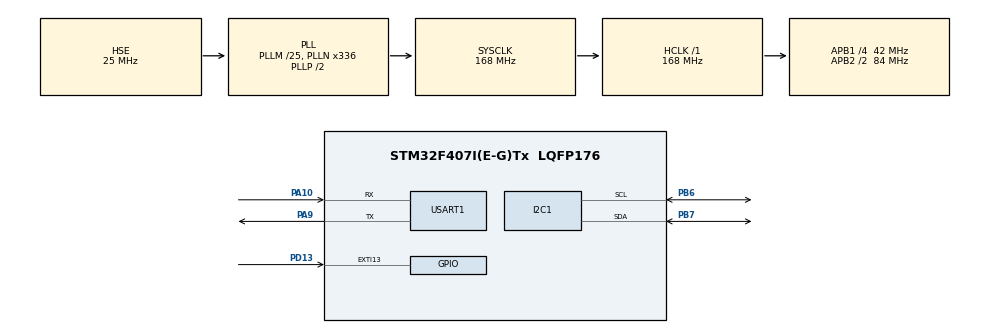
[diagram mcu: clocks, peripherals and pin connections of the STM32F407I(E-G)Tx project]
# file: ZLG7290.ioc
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I2C1.DualAddressMode=I2C_DUALADDRESS_DISABLED
I2C1.GeneralCallMode=I2C_GENERALCALL_ENABLED
Mcu.Family=STM32F4
Mcu.Name=STM32F407I(E-G)Tx
Mcu.Package=LQFP176
NVIC.EXTI15_10_IRQn=true\:0\:0\:false
NVIC.PriorityGroup=NVIC_PRIORITYGROUP_4
NVIC.USART1_IRQn=true\:0\:0\:false
PA10.Mode=Asynchronous
PA10.Signal=USART1_RX
PA9.Mode=Asynchronous
PA9.Signal=USART1_TX
PB6.Mode=I2C
PB6.Signal=I2C1_SCL
PB7.Mode=I2C
PB7.Signal=I2C1_SDA
PD13.GPIO_ModeDefaultEXTI=GPIO_MODE_IT_FALLING
PD13.GPIO_PuPd=GPIO_NOPULL
PD13.Signal=GPXTI13
PH0-OSC_IN.Mode=HSE-External-Oscillator
PH0-OSC_IN.Signal=RCC_OSC_IN
PH1-OSC_OUT.Mode=HSE-External-Oscillator
PH1-OSC_OUT.Signal=RCC_OSC_OUT
ProjectManager.TargetToolchain=MDK-ARM V5
RCC.48MHZClocksFreq_Value=84000000
RCC.AHBFreq_Value=168000000
RCC.APB1CLKDivider=RCC_HCLK_DIV4
RCC.APB1Freq_Value=42000000
RCC.APB1TimFreq_Value=84000000
RCC.APB2CLKDivider=RCC_HCLK_DIV2
RCC.APB2Freq_Value=84000000
RCC.APB2TimFreq_Value=168000000
RCC.CortexFreq_Value=168000000
RCC.HCLKFreq_Value=168000000
RCC.HSE_VALUE=25000000
RCC.HSI_VALUE=16000000
RCC.LSE_VALUE=32768
RCC.PLLM=25
RCC.PLLN=336
RCC.PLLSourceVirtual=RCC_PLLSOURCE_HSE
RCC.SYSCLKFreq_VALUE=168000000
RCC.SYSCLKSource=RCC_SYSCLKSOURCE_PLLCLK
RCC.VCOOutputFreq_Value=336000000
board=ZLG7290

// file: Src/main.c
/**
  ******************************************************************************
  * File Name          : main.c
  * Description        : Main program body
  ******************************************************************************
  *
  * COPYRIGHT(c) 2015 STMicroelectronics
  *
  * Redistribution and use in source and binary forms, with or without modification,
  * are permitted provided that the following conditions are met:
  *   1. Redistributions of source code must retain the above copyright notice,
  *      this list of conditions and the following disclaimer.
  *   2. Redistributions in binary form must reproduce the above copyright notice,
  *      this list of conditions and the following disclaimer in the documentation
  *      and/or other materials provided with the distribution.
  *   3. Neither the name of STMicroelectronics nor the names of its contributors
  *      may be used to endorse or promote products derived from this software
  *      without specific prior written permission.
  *
  * THIS SOFTWARE IS PROVIDED BY THE COPYRIGHT HOLDERS AND CONTRIBUTORS "AS IS"
  * AND ANY EXPRESS OR IMPLIED WARRANTIES, INCLUDING, BUT NOT LIMITED TO, THE
  * IMPLIED WARRANTIES OF MERCHANTABILITY AND FITNESS FOR A PARTICULAR PURPOSE ARE
  * DISCLAIMED. IN NO EVENT SHALL THE COPYRIGHT HOLDER OR CONTRIBUTORS BE LIABLE
  * FOR ANY DIRECT, INDIRECT, INCIDENTAL, SPECIAL, EXEMPLARY, OR CONSEQUENTIAL
  * DAMAGES (INCLUDING, BUT NOT LIMITED TO, PROCUREMENT OF SUBSTITUTE GOODS OR
  * SERVICES; LOSS OF USE, DATA, OR PROFITS; OR BUSINESS INTERRUPTION) HOWEVER
  * CAUSED AND ON ANY THEORY OF LIABILITY, WHETHER IN CONTRACT, STRICT LIABILITY,
  * OR TORT (INCLUDING NEGLIGENCE OR OTHERWISE) ARISING IN ANY WAY OUT OF THE USE
  * OF THIS SOFTWARE, EVEN IF ADVISED OF THE POSSIBILITY OF SUCH DAMAGE.
  *
  ******************************************************************************
  */
#include "stm32f4xx_hal.h"
#include "i2c.h"
#include "usart.h"
#include "gpio.h"

/* USER CODE BEGIN Includes */
#include "zlg7290.h"
#include "stdio.h"
/* USER CODE END Includes */

/* USER CODE BEGIN PV */
/* Private variables ---------------------------------------------------------*/
#define ZLG_READ_ADDRESS1         0x01
#define ZLG_READ_ADDRESS2         0x10
#define ZLG_WRITE_ADDRESS1        0x10
#define ZLG_WRITE_ADDRESS2        0x11
#define BUFFER_SIZE1              (countof(Tx1_Buffer))
#define BUFFER_SIZE2              (countof(Rx2_Buffer))
#define countof(a) (sizeof(a) / sizeof(*(a)))

struct flag_arg {
	uint8_t flag;										//不同的按键有不同的标志位值
	uint8_t cksm;										//flag校验码=flag+1
} arg;
uint8_t flag1 = 0;								//中断标志位，每次按键产生一次中断，并开始读取8个数码管的值
uint8_t Rx2_Buffer[8]={0};
uint8_t Tx1_Buffer[8]={0};
uint8_t Rx1_Buffer[1]={0};
/* USER CODE END PV */
uint8_t pwd_hash[5] = {4,1,3,2,9};//内置密码的哈希值，不存储明文密码，防止密码泄露
uint8_t pwd_tmp[20];							//输入密码缓冲区，仅前5字节有实际作用，多余字节防止溢出
int indx = 0;											//输入密码缓冲区指针

uint8_t called_que[12]={0};				//函数调用序列
uint8_t call_indx = 0;						//函数调用序列指针
//将函数id入队
#define enterque(id)\
{\
	if (call_indx >= 12) {\
		call_indx = 0;\
	}\
	called_que[call_indx++]=id;\
}
//函数id
#define ID_switch_key 				1
#define ID_verify_pwd_choose 	2
#define ID_verify_pwd 				3
#define ID_switch_flag 				4
//调用序列标志：0-调用序列出错;1-调用序列正确
uint8_t called_flag = 1;

/* verify pwd*/
void verify_pwd_choose(uint8_t choice);
void verify_pwd1(void);
void verify_pwd2(void);
void SystemClock_Config(void);

/* USER CODE BEGIN PFP */
/* Private function prototypes -----------------------------------------------*/
void swtich_key(void);
void switch_flag(void);
/* USER CODE END PFP */

int main(void)
{

  /* MCU Configuration----------------------------------------------------------*/

  /* Reset of all peripherals, Initializes the Flash interface and the Systick. */
  HAL_Init();

  /* Configure the system clock */
  SystemClock_Config();

  /* Initialize all configured peripherals */
  MX_GPIO_Init();
  MX_I2C1_Init();
  MX_USART1_UART_Init();

  /* USER CODE BEGIN 2 */
	printf("\n\r");
	printf("\n\r-------------------------------------------------\r\n");
	printf("\n\r 口令匹配程序 \r\n");
  /* USER CODE END 2 */

  /* Infinite loop */
  /* USER CODE BEGIN WHILE */
	uint8_t verifyChoice = 0;				//用于选择使用哪一个verify_pwd函数

  while (1)
  {
  /* USER CODE END WHILE */

  /* USER CODE BEGIN 3 */
		if(flag1 == 1)
		{
			flag1 = 0;
			I2C_ZLG7290_Read(&hi2c1,0x71,0x01,Rx1_Buffer,1);//读键值
			printf("\n\r按键键值 = %#x\r\n",Rx1_Buffer[0]);	//向串口发送键值
			HAL_GPIO_WritePin(GPIOG,GPIO_PIN_6,GPIO_PIN_SET);//打开蜂鸣器
			HAL_Delay(2);//50HZ频率
			HAL_GPIO_WritePin(GPIOG,GPIO_PIN_6,GPIO_PIN_RESET);//关闭蜂鸣器
			HAL_Delay(2);//50HZ频率
			swtich_key();																		//扫描键值，写标志位
			verify_pwd_choose(verifyChoice);								//口令匹配
/*			if (!called_flag) {		//如果关键函数verify调用序列出错
				call_indx = 0;			//清空调用队列
				called_flag = 1;		//重置called_flag
				continue;
			}*/
			I2C_ZLG7290_Read(&hi2c1,0x71,0x10,Rx2_Buffer,8);//读8位数码管
			switch_flag();																	//扫描到相应的按键并且向数码管写进数值
		}
		verifyChoice = 1-verifyChoice;		//每次将verifyChoice置反，以选择不同的verify_pwd
  }
  /* USER CODE END 3 */

}
/*
口令匹配：
用户每次输入只有前5个按键值会被转换为相应数字，并放入输入密码缓冲区pwd_tmp。
当用户按下#键时才会进行口令匹配。
为了防止密码泄露，内存中存储的是密码的哈希值。
程序将用户密码进行哈希后，再与内置密码的哈希值进行比较。
*/
//void verify_pwd1(void);
//void verify_pwd2(void);

void verify_pwd_choose(uint8_t choice)
{
	//检查前序调用队列
	if (called_que[call_indx-1]!=ID_switch_key) {
		//called_flag = 0;
		//return;
		arg.flag = 14;
	}
	//将本函数id入队
	enterque(ID_verify_pwd_choose);

	//选择调用哪一个verify_pwd函数
	if (!choice) {
		verify_pwd1();
	}
	else {
		verify_pwd2();
	}
	return;
}

/* 两个程序冗余项，程序功能相同 */
void verify_pwd1(void) {
	//检查前序调用队列
	if (called_que[call_indx-1]!=ID_verify_pwd_choose \
		|| called_que[call_indx-2]!=ID_switch_key) {
		//called_flag = 0;
		//return;
			Rx1_Buffer[0] = 0x2;
	}
	//将函数id入栈
	enterque(ID_verify_pwd);

	//验证flag
	if (arg.flag + 1 != arg.cksm) {
		return;
	}

	int i;
	if (Rx1_Buffer[0] == 0x2) {								//用户按下#键，进行密码匹配
		 indx = 0; 															//清空输入密码缓冲区，为下一次用户输入密码做准备
		 printf("\n\r 1begin match \r\n");
		 printf("\n\r %#x %#x %#x %#x %#x \r\n", pwd_tmp[0], pwd_tmp[1], pwd_tmp[2], pwd_tmp[3], pwd_tmp[4]);
		 for (i = 0; i < 5; i++) {
				if (pwd_tmp[i]+1 != pwd_hash[i]) {	//将用户输入做哈希后与内置密码的哈希值进行比较
						printf ("\n\r pwd match error \r\n");
					return;
				}
			}
		 printf("\n\r pwd match success \r\n");
		 return;
	}
	if (indx <= 5) {				//用户每次输入，只有前5个按键值有效，多余输入不放入密码缓冲区
	  pwd_tmp[indx] = arg.flag;	//在switch_flag函数中，按键值被转换为相应数字，并放入了全局变量flag中
	}
	indx = indx + 1;
}

void verify_pwd2(void)
{
	//检查前序调用队列
	if (called_que[call_indx-1]!=ID_verify_pwd_choose \
		|| called_que[call_indx-2]!=ID_switch_key) {
		//called_flag = 0;
		//return;
			arg.flag = 14;
	}
	//将函数id入栈
	enterque(ID_verify_pwd);
	//验证flag
	if (arg.flag + 1 != arg.cksm) {
		return;
	}

	if (arg.flag == 14) {		//按键#
		printf("\n\r 2begin match \r\n");
		if (indx != 5) {	//长度匹配
			printf("\n\r pwd match failed \r\n");
			indx = 0;
			return;
		}
		indx = 0;					//清空密码缓冲区
		uint8_t i = 0;
		while (i < 5) {		//逐位密码进行匹配
			printf("%#x ", pwd_tmp[i]);
			pwd_tmp[i]++;		//密码哈希
			if (pwd_tmp[i] != pwd_hash[i]) { //密码匹配
				printf("\n\r pwd match failed \r\n");
				return;
			}
			i++;
		}
		printf("\n\r pwd match success \r\n");
		return;
	}
	else if (indx <= 5) {//当输入不为#键且小于5位时，将其放入密码输入缓冲区
		pwd_tmp[indx] = arg.flag;
		indx++;
		return;
	}
}

/** System Clock Configuration
*/
void SystemClock_Config(void)
{

  RCC_OscInitTypeDef RCC_OscInitStruct;
  RCC_ClkInitTypeDef RCC_ClkInitStruct;

  __PWR_CLK_ENABLE();

  __HAL_PWR_VOLTAGESCALING_CONFIG(PWR_REGULATOR_VOLTAGE_SCALE1);

  RCC_OscInitStruct.OscillatorType = RCC_OSCILLATORTYPE_HSE;
  RCC_OscInitStruct.HSEState = RCC_HSE_ON;
  RCC_OscInitStruct.PLL.PLLState = RCC_PLL_ON;
  RCC_OscInitStruct.PLL.PLLSource = RCC_PLLSOURCE_HSE;
  RCC_OscInitStruct.PLL.PLLM = 25;
  RCC_OscInitStruct.PLL.PLLN = 336;
  RCC_OscInitStruct.PLL.PLLP = RCC_PLLP_DIV2;
  RCC_OscInitStruct.PLL.PLLQ = 4;
  HAL_RCC_OscConfig(&RCC_OscInitStruct);

  RCC_ClkInitStruct.ClockType = RCC_CLOCKTYPE_SYSCLK|RCC_CLOCKTYPE_PCLK1
                              |RCC_CLOCKTYPE_PCLK2;
  RCC_ClkInitStruct.SYSCLKSource = RCC_SYSCLKSOURCE_PLLCLK;
  RCC_ClkInitStruct.AHBCLKDivider = RCC_SYSCLK_DIV1;
  RCC_ClkInitStruct.APB1CLKDivider = RCC_HCLK_DIV4;
  RCC_ClkInitStruct.APB2CLKDivider = RCC_HCLK_DIV2;
  HAL_RCC_ClockConfig(&RCC_ClkInitStruct, FLASH_LATENCY_5);

  HAL_SYSTICK_Config(HAL_RCC_GetHCLKFreq()/1000);

  HAL_SYSTICK_CLKSourceConfig(SYSTICK_CLKSOURCE_HCLK);

  /* SysTick_IRQn interrupt configuration */
  HAL_NVIC_SetPriority(SysTick_IRQn, 0, 0);
}

/* USER CODE BEGIN 4 */
void swtich_key(void)
{
	enterque(ID_switch_key);	//将本函数id入队

	switch(Rx1_Buffer[0])
	{
        case 0x1C:
					arg.flag = 1;
          break;
        case 0x1B:
					arg.flag = 2;
          break;
        case 0x1A:
					arg.flag = 3;
          break;
        case 0x14:
					arg.flag = 4;
          break;
				case 0x13:
					arg.flag = 5;
					break;
        case 0x12:
					arg.flag = 6;
          break;
        case 0x0C:
					arg.flag = 7;
          break;
        case 0x0B:
          arg.flag = 8;
          break;
				case 0x0A:
					arg.flag = 9;
					break;
				case 0x03:
					arg.flag = 0;
					break;
				case 0x19:
					arg.flag = 10;
					break;
				case 0x11:
					arg.flag = 11;
					break;
				case 0x09:
					arg.flag = 12;
					break;
				case 0x01:
					arg.flag = 13;
					break;
				case 0x02:
					arg.flag = 14;
					break;
        default:
          break;
			}
	arg.cksm = arg.flag + 1;	//计算flag校验码
}

void switch_flag(void){
	enterque(ID_switch_flag);				//将本函数id入队

	if (arg.flag + 1 != arg.cksm) {	//验证flag
		return;
	}

	switch(arg.flag){
			case 1:
				Tx1_Buffer[0] = 0x0c;
				if(Rx2_Buffer[0] == 0)
					{
						I2C_ZLG7290_Write(&hi2c1,0x70,ZLG_WRITE_ADDRESS1,Tx1_Buffer,1);
					}
					else
					{
						I2C_ZLG7290_Write(&hi2c1,0x70,ZLG_WRITE_ADDRESS2,Rx2_Buffer,BUFFER_SIZE2);
						I2C_ZLG7290_Write(&hi2c1,0x70,ZLG_WRITE_ADDRESS1,Tx1_Buffer,1);
					}
				break;
			case 2:
				Tx1_Buffer[0] = 0xDA;
				if(Rx2_Buffer[0] == 0)
					{
						I2C_ZLG7290_Write(&hi2c1,0x70,ZLG_WRITE_ADDRESS1,Tx1_Buffer,1);
					}
					else
					{
						I2C_ZLG7290_Write(&hi2c1,0x70,ZLG_WRITE_ADDRESS2,Rx2_Buffer,BUFFER_SIZE2);
						I2C_ZLG7290_Write(&hi2c1,0x70,ZLG_WRITE_ADDRESS1,Tx1_Buffer,1);
					}
				break;
			case 3:
				Tx1_Buffer[0] = 0xF2;
				if(Rx2_Buffer[0] == 0)
					{
						I2C_ZLG7290_Write(&hi2c1,0x70,ZLG_WRITE_ADDRESS1,Tx1_Buffer,1);
					}
					else
					{
						I2C_ZLG7290_Write(&hi2c1,0x70,ZLG_WRITE_ADDRESS2,Rx2_Buffer,BUFFER_SIZE2);
						I2C_ZLG7290_Write(&hi2c1,0x70,ZLG_WRITE_ADDRESS1,Tx1_Buffer,1);
					}
				break;
			case 4:
				Tx1_Buffer[0] = 0x66;
				if(Rx2_Buffer[0] == 0)
					{
						I2C_ZLG7290_Write(&hi2c1,0x70,ZLG_WRITE_ADDRESS1,Tx1_Buffer,1);
					}
					else
					{
						I2C_ZLG7290_Write(&hi2c1,0x70,ZLG_WRITE_ADDRESS2,Rx2_Buffer,BUFFER_SIZE2);
						I2C_ZLG7290_Write(&hi2c1,0x70,ZLG_WRITE_ADDRESS1,Tx1_Buffer,1);
					}
				break;
			case 5:
				Tx1_Buffer[0] = 0xB6;
				if(Rx2_Buffer[0] == 0)
					{
						I2C_ZLG7290_Write(&hi2c1,0x70,ZLG_WRITE_ADDRESS1,Tx1_Buffer,1);
					}
					else
					{
						I2C_ZLG7290_Write(&hi2c1,0x70,ZLG_WRITE_ADDRESS2,Rx2_Buffer,BUFFER_SIZE2);
						I2C_ZLG7290_Write(&hi2c1,0x70,ZLG_WRITE_ADDRESS1,Tx1_Buffer,1);
					}
				break;
			case 6:
				Tx1_Buffer[0] = 0xBE;
				if(Rx2_Buffer[0] == 0)
					{
						I2C_ZLG7290_Write(&hi2c1,0x70,ZLG_WRITE_ADDRESS1,Tx1_Buffer,1);
					}
					else
					{
						I2C_ZLG7290_Write(&hi2c1,0x70,ZLG_WRITE_ADDRESS2,Rx2_Buffer,BUFFER_SIZE2);
						I2C_ZLG7290_Write(&hi2c1,0x70,ZLG_WRITE_ADDRESS1,Tx1_Buffer,1);
					}
				break;
			case 7:
				Tx1_Buffer[0] = 0xE0;
				if(Rx2_Buffer[0] == 0)
					{
						I2C_ZLG7290_Write(&hi2c1,0x70,ZLG_WRITE_ADDRESS1,Tx1_Buffer,1);
					}
					else
					{
						I2C_ZLG7290_Write(&hi2c1,0x70,ZLG_WRITE_ADDRESS2,Rx2_Buffer,BUFFER_SIZE2);
						I2C_ZLG7290_Write(&hi2c1,0x70,ZLG_WRITE_ADDRESS1,Tx1_Buffer,1);
					}
				break;
			case 8:
				Tx1_Buffer[0] = 0xFE;
				if(Rx2_Buffer[0] == 0)
					{
						I2C_ZLG7290_Write(&hi2c1,0x70,ZLG_WRITE_ADDRESS1,Tx1_Buffer,1);
					}
					else
					{
						I2C_ZLG7290_Write(&hi2c1,0x70,ZLG_WRITE_ADDRESS2,Rx2_Buffer,BUFFER_SIZE2);
						I2C_ZLG7290_Write(&hi2c1,0x70,ZLG_WRITE_ADDRESS1,Tx1_Buffer,1);
					}
				break;
			case 9:
				Tx1_Buffer[0] = 0xE6;
				if(Rx2_Buffer[0] == 0)
					{
						I2C_ZLG7290_Write(&hi2c1,0x70,ZLG_WRITE_ADDRESS1,Tx1_Buffer,1);
					}
					else
					{
						I2C_ZLG7290_Write(&hi2c1,0x70,ZLG_WRITE_ADDRESS2,Rx2_Buffer,BUFFER_SIZE2);
						I2C_ZLG7290_Write(&hi2c1,0x70,ZLG_WRITE_ADDRESS1,Tx1_Buffer,1);
					}
				break;
			case 10:
				Tx1_Buffer[0] = 0xEE;
				if(Rx2_Buffer[0] == 0)
					{
						I2C_ZLG7290_Write(&hi2c1,0x70,ZLG_WRITE_ADDRESS1,Tx1_Buffer,1);
					}
					else
					{
						I2C_ZLG7290_Write(&hi2c1,0x70,ZLG_WRITE_ADDRESS2,Rx2_Buffer,BUFFER_SIZE2);
						I2C_ZLG7290_Write(&hi2c1,0x70,ZLG_WRITE_ADDRESS1,Tx1_Buffer,1);
					}
				break;
			case 11:
				Tx1_Buffer[0] = 0x3E;
				if(Rx2_Buffer[0] == 0)
					{
						I2C_ZLG7290_Write(&hi2c1,0x70,ZLG_WRITE_ADDRESS1,Tx1_Buffer,1);
					}
					else
					{
						I2C_ZLG7290_Write(&hi2c1,0x70,ZLG_WRITE_ADDRESS2,Rx2_Buffer,BUFFER_SIZE2);
						I2C_ZLG7290_Write(&hi2c1,0x70,ZLG_WRITE_ADDRESS1,Tx1_Buffer,1);
					}
				break;
					case 12:
				Tx1_Buffer[0] = 0x9C;
				if(Rx2_Buffer[0] == 0)
					{
						I2C_ZLG7290_Write(&hi2c1,0x70,ZLG_WRITE_ADDRESS1,Tx1_Buffer,1);
					}
					else
					{
						I2C_ZLG7290_Write(&hi2c1,0x70,ZLG_WRITE_ADDRESS2,Rx2_Buffer,BUFFER_SIZE2);
						I2C_ZLG7290_Write(&hi2c1,0x70,ZLG_WRITE_ADDRESS1,Tx1_Buffer,1);
					}
				break;
					case 13:
				Tx1_Buffer[0] = 0x7A;
				if(Rx2_Buffer[0] == 0)
					{
						I2C_ZLG7290_Write(&hi2c1,0x70,ZLG_WRITE_ADDRESS1,Tx1_Buffer,1);
					}
					else
					{
						I2C_ZLG7290_Write(&hi2c1,0x70,ZLG_WRITE_ADDRESS2,Rx2_Buffer,BUFFER_SIZE2);
						I2C_ZLG7290_Write(&hi2c1,0x70,ZLG_WRITE_ADDRESS1,Tx1_Buffer,1);
					}
				break;
					case 14:
							Tx1_Buffer[0] = 0x00;
							I2C_ZLG7290_Write(&hi2c1,0x70,ZLG_WRITE_ADDRESS1,Tx1_Buffer,8);
						break;
					case 0:
				Tx1_Buffer[0] = 0xFC;
				if(Rx2_Buffer[0] == 0)
					{
						I2C_ZLG7290_Write(&hi2c1,0x70,ZLG_WRITE_ADDRESS1,Tx1_Buffer,1);
					}
					else
					{
						I2C_ZLG7290_Write(&hi2c1,0x70,ZLG_WRITE_ADDRESS2,Rx2_Buffer,BUFFER_SIZE2);
						I2C_ZLG7290_Write(&hi2c1,0x70,ZLG_WRITE_ADDRESS1,Tx1_Buffer,1);
					}
				break;
			default:
				break;
		}
}

void HAL_GPIO_EXTI_Callback(uint16_t GPIO_Pin)
{
	flag1 = 1;
}
int fputc(int ch, FILE *f)
{
  uint8_t tmp[1]={0};
	tmp[0] = (uint8_t)ch;
	HAL_UART_Transmit(&huart1,tmp,1,10);
	return ch;
}
/* USER CODE END 4 */

/************************ (C) COPYRIGHT STMicroelectronics *****END OF FILE****/
